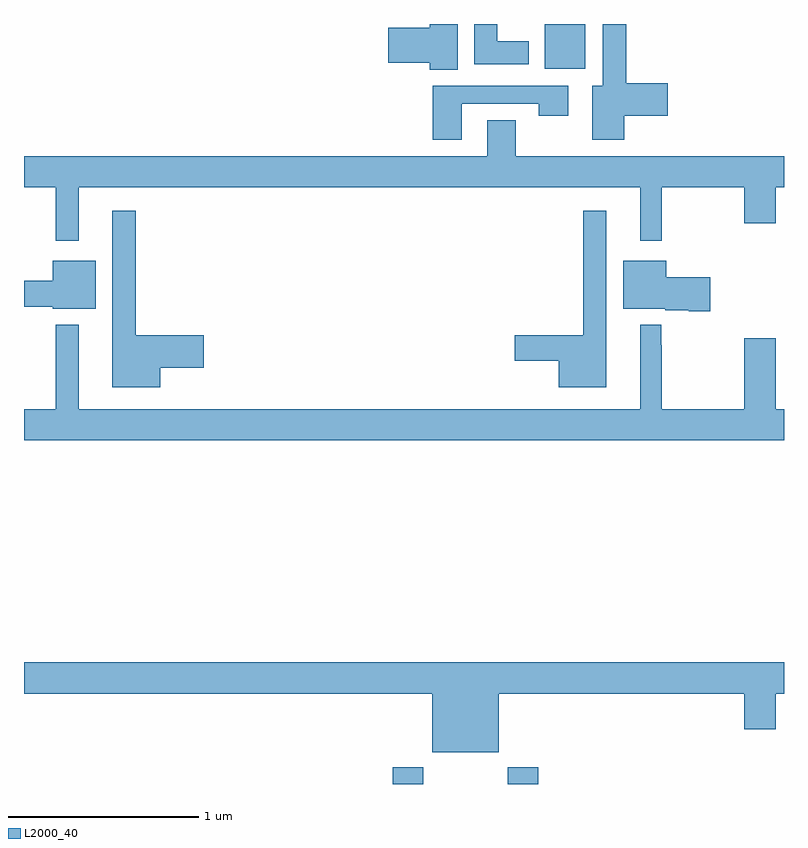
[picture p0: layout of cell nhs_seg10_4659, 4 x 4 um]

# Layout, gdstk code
import gdstk
lib = gdstk.Library(unit=1e-6, precision=1e-09)
def R(c, l, rs):  # rectangles x0, y0, x1, y1
    for r in rs: c.add(gdstk.rectangle(r[:2], r[2:], *l))
def P(c, l, *ps):  # polygons
    for p in ps: c.add(gdstk.Polygon(p, *l))
L2000_40 = (2000, 40)

nhs_seg10_4659 = lib.new_cell('nhs_seg10_4659')
R(nhs_seg10_4659, L2000_40, [(378.941,1306.5,379.101,1306.588), (379.546,1306.5,379.706,1306.588), (379.742,1310.264,379.954,1310.5)])
P(nhs_seg10_4659, L2000_40, [(379.282,1310.5),(379.136,1310.5),(379.136,1310.48),(378.918,1310.48),(378.918,1310.297),(379.136,1310.297),(379.136,1310.26),(379.282,1310.26)],
  [(379.657,1310.41),(379.492,1310.41),(379.492,1310.5),(379.37,1310.5),(379.37,1310.288),(379.657,1310.288)],
  [(380.158,1310.018),(380.389,1310.018),(380.389,1310.189),(380.171,1310.189),(380.171,1310.5),(380.045,1310.5),(380.045,1310.176),(379.991,1310.176),(379.991,1309.89),(380.158,1309.89)],
  [(379.303,1310.079),(379.708,1310.079),(379.708,1310.016),(379.864,1310.016),(379.864,1310.175),(379.151,1310.175),(379.151,1309.89),(379.303,1309.89)],
  [(377.287,1309.64),(380.243,1309.64),(380.243,1309.359),(380.357,1309.359),(380.357,1309.64),(380.792,1309.64),(380.792,1309.452),(380.956,1309.452),(380.956,1309.64),(381,1309.64),(381,1309.804),(379.587,1309.804),(379.587,1309.994),(379.439,1309.994),(379.439,1309.804),(377,1309.804),(377,1309.64),(377.166,1309.64),(377.166,1309.359),(377.287,1309.359)],
  [(380.065,1309.516),(379.944,1309.516),(379.944,1308.863),(379.584,1308.863),(379.584,1308.728),(379.814,1308.728),(379.814,1308.587),(380.065,1308.587)],
  [(377.716,1308.692),(377.947,1308.692),(377.947,1308.863),(377.587,1308.863),(377.587,1309.516),(377.465,1309.516),(377.465,1308.587),(377.716,1308.587)],
  [(377.377,1309.255),(377.15,1309.255),(377.15,1309.148),(377,1309.148),(377,1309.012),(377.15,1309.012),(377.15,1309.001),(377.377,1309.001)],
  [(380.611,1309.167),(380.38,1309.167),(380.38,1309.255),(380.153,1309.255),(380.153,1309.001),(380.376,1309.001),(380.376,1308.994),(380.498,1308.994),(380.498,1308.989),(380.611,1308.989)],
  [(381,1308.472),(380.956,1308.472),(380.956,1308.847),(380.792,1308.847),(380.792,1308.472),(380.357,1308.472),(380.357,1308.809),(380.353,1308.809),(380.353,1308.916),(380.243,1308.916),(380.243,1308.472),(377.287,1308.472),(377.287,1308.916),(377.166,1308.916),(377.166,1308.472),(377,1308.472),(377,1308.308),(381,1308.308)],
  [(379.498,1306.976),(380.792,1306.976),(380.792,1306.788),(380.956,1306.788),(380.956,1306.976),(381,1306.976),(381,1307.14),(377,1307.14),(377,1306.976),(379.148,1306.976),(379.148,1306.667),(379.498,1306.667)])

lib.write_gds('nhs_seg10_4659.gds')
